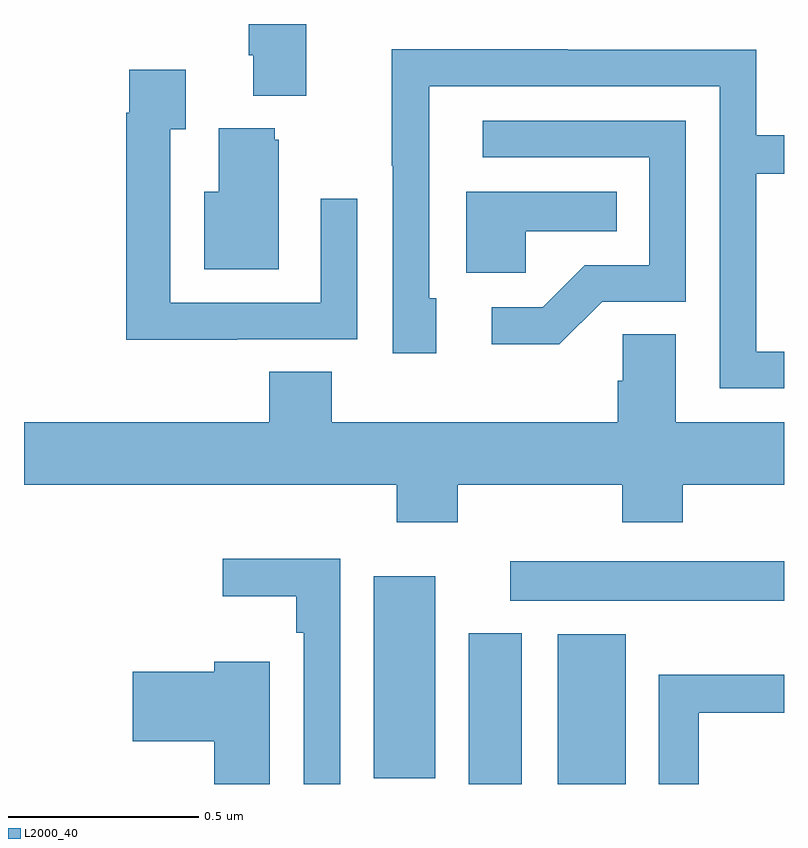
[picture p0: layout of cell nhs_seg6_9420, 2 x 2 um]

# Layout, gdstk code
import gdstk
lib = gdstk.Library(unit=1e-6, precision=1e-09)
def R(c, l, rs):  # rectangles x0, y0, x1, y1
    for r in rs: c.add(gdstk.rectangle(r[:2], r[2:], *l))
def P(c, l, *ps):  # polygons
    for p in ps: c.add(gdstk.Polygon(p, *l))
L2000_40 = (2000, 40)

nhs_seg6_9420 = lib.new_cell('nhs_seg6_9420')
R(nhs_seg6_9420, L2000_40, [(234.17,994.5,234.31,994.897), (234.404,994.5,234.583,994.894), (233.921,994.515,234.082,995.047), (234.279,994.982,235,995.086)])
P(nhs_seg6_9420, L2000_40, [(233.743,996.5),(233.591,996.5),(233.591,996.418),(233.603,996.418),(233.603,996.311),(233.743,996.311)],
  [(235,995.637),(234.927,995.637),(234.927,996.106),(235,996.106),(235,996.207),(234.927,996.207),(234.927,996.432),(234.431,996.432),(234.431,996.434),(233.968,996.434),(233.968,996.127),(233.97,996.127),(233.97,995.634),(234.085,995.634),(234.085,995.778),(234.066,995.778),(234.066,996.082),(234.067,996.082),(234.067,996.336),(234.831,996.336),(234.831,995.541),(235,995.541)],
  [(233.561,995.67),(233.877,995.67),(233.877,996.04),(233.781,996.04),(233.781,995.766),(233.385,995.766),(233.385,996.223),(233.425,996.223),(233.425,996.379),(233.277,996.379),(233.277,996.266),(233.269,996.266),(233.269,995.669),(233.561,995.669)],
  [(234.522,995.769),(234.741,995.769),(234.741,996.246),(234.207,996.246),(234.207,996.15),(234.645,996.15),(234.645,995.865),(234.476,995.865),(234.365,995.754),(234.231,995.754),(234.231,995.657),(234.409,995.657)],
  [(233.671,996.195),(233.66,996.195),(233.66,996.226),(233.513,996.226),(233.513,996.058),(233.474,996.058),(233.474,995.855),(233.671,995.855)],
  [(234.321,995.954),(234.56,995.954),(234.56,996.058),(234.164,996.058),(234.164,995.846),(234.321,995.846)],
  [(234.141,995.288),(234.574,995.288),(234.574,995.189),(234.734,995.189),(234.734,995.288),(235,995.288),(235,995.452),(234.715,995.452),(234.715,995.684),(234.576,995.684),(234.576,995.561),(234.563,995.561),(234.563,995.452),(233.81,995.452),(233.81,995.585),(233.645,995.585),(233.645,995.452),(233,995.452),(233,995.288),(233.981,995.288),(233.981,995.189),(234.141,995.189)],
  [(233.832,995.093),(233.523,995.093),(233.523,994.994),(233.716,994.994),(233.716,994.898),(233.736,994.898),(233.736,994.5),(233.832,994.5)],
  [(233.647,994.822),(233.501,994.822),(233.501,994.796),(233.286,994.796),(233.286,994.613),(233.501,994.613),(233.501,994.5),(233.647,994.5)],
  [(234.775,994.687),(235,994.687),(235,994.787),(234.671,994.787),(234.671,994.5),(234.775,994.5)])

lib.write_gds('nhs_seg6_9420.gds')
